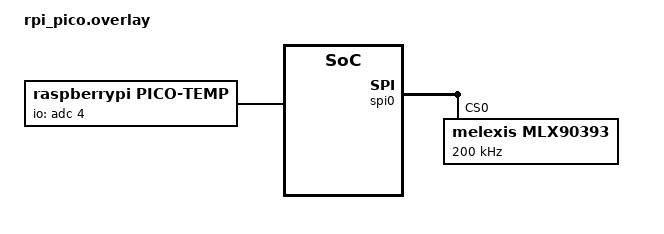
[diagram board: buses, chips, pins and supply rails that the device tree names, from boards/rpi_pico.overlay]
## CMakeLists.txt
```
# Copyright (c) 2022, Stefano Cottafavi
#
# SPDX-License-Identifier: Apache-2.0

# Add the driver directory as a zephyr module by hand
list(APPEND ZEPHYR_EXTRA_MODULES
	${CMAKE_CURRENT_SOURCE_DIR}/../../drivers
)

cmake_minimum_required(VERSION 3.20.0)

# required for apps
find_package(Zephyr REQUIRED HINTS $ENV{ZEPHYR_BASE})

project(test-mlx-spi)

zephyr_include_directories(src)

target_sources(app PRIVATE
	src/main.c
)
```

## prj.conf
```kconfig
CONFIG_STDOUT_CONSOLE=y
CONFIG_PRINTK=y
CONFIG_CBPRINTF_FP_SUPPORT=y

CONFIG_LOG=y
CONFIG_LOG_PRINTK=y
CONFIG_LOG_MODE_IMMEDIATE=y
CONFIG_LOG_BACKEND_UART=y

CONFIG_SENSOR=y
CONFIG_SENSOR_LOG_LEVEL_DBG=y

CONFIG_GPIO=y
CONFIG_SPI=y

CONFIG_MLX90393=y
CONFIG_MLX90393_SPI=y
```

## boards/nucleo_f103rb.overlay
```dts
/*
 * Copyright (c) 2022, Stefano Cottafavi <stefano.cottafavi@gmail.com>
 *
 * SPDX-License-Identifier: Apache-2.0
 */

/ {

};

&spi2 {

	cs-gpios = <&gpiob 12 GPIO_ACTIVE_LOW>;

	mlx90393@0 {
		reg = <0x0>;
		compatible = "melexis,mlx90393";
		spi-max-frequency = <200000>;
		status = "okay";
		//interrupt-gpios = <&gpio0 6 (GPIO_ACTIVE_HIGH)>;
	};
};
```

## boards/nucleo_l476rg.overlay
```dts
/*
 * Copyright (c) 2022, Stefano Cottafavi <stefano.cottafavi@gmail.com>
 *
 * SPDX-License-Identifier: Apache-2.0
 */

/ {

};

&spi2 {

	cs-gpios = <&gpiob 12 GPIO_ACTIVE_LOW>;

	mlx90393@0 {
		reg = <0x0>;
		compatible = "melexis,mlx90393";
		spi-max-frequency = <2000000>;
		status = "okay";
		
		//interrupt-gpios = <&gpio0 6 (GPIO_ACTIVE_HIGH)>;

	};
};
```

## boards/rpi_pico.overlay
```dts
/*
 * Copyright (c) 2022, Stefano Cottafavi <stefano.cottafavi@gmail.com>
 *
 * SPDX-License-Identifier: Apache-2.0
 */

 #include <zephyr/dt-bindings/adc/adc.h>

 / {
	pico-temp {
		compatible = "raspberrypi,pico-temp";
		status = "okay";
		io-channels = <&adc 4>;
	};
};

&spi0 {
	mlx90393@0 {
		reg = <0x0>;
		compatible = "melexis,mlx90393";
		spi-max-frequency = <200000>;
		status = "okay";
		//interrupt-gpios = <&gpio0 6 (GPIO_ACTIVE_HIGH)>;
	};
};
```

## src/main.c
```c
/*
 * Copyright (c) 2022 Stefano Cottafavi
 *
 * SPDX-License-Identifier: Apache-2.0
 */

#include <zephyr/device.h>

#include <zephyr/drivers/gpio.h>
#include <zephyr/drivers/sensor.h>

#include "mlx90393.h"

#define SLEEP_TIME_MS   50
#define LED0_NODE DT_ALIAS(led0)

static const struct gpio_dt_spec led = GPIO_DT_SPEC_GET(LED0_NODE, gpios);
const struct device *const mlx = DEVICE_DT_GET_ONE(melexis_mlx90393);

int main(void)
{
	int err;

	if (!device_is_ready(led.port)) {
		printk("LED is not ready\n");
		return 0;
	}

	if (!device_is_ready(mlx)) {
		printk("MAG is not ready\n");
		return 0;
	}


	err = gpio_pin_configure_dt(&led, GPIO_OUTPUT_ACTIVE);
	if (err < 0) {
		return 0;
	}

	printk("Raspberry Pi Pico test\n");

	// warm reset and set burst (min is 20ms, only multiples of 20ms allowed)
	mlx90393_reset(mlx);
	mlx90393_set_mode(mlx,
		MLX90393_T | MLX90393_X | MLX90393_Y | MLX90393_Z,
		MLX90393_BURST_MODE, 100);

	struct sensor_value mag[4];

	while (1) {

		err = sensor_sample_fetch(mlx);
		if (err) {
			printk("Failed to fetch MAG (%d)\n", err);
			continue;
		}
		err = sensor_channel_get(mlx, SENSOR_CHAN_ALL, mag);
		if (err) {
			printk("Failed to get data MAG (%d)\n", err);
			continue;
		}

		printk("%.3f, %.3f, %.3f \n",
			sensor_value_to_double(&mag[0]),
			sensor_value_to_double(&mag[1]),
			sensor_value_to_double(&mag[2])
		);

		err = gpio_pin_toggle_dt(&led);
		if (err < 0) {
			return 0;
		}


		k_msleep(SLEEP_TIME_MS);
	}
}
```
